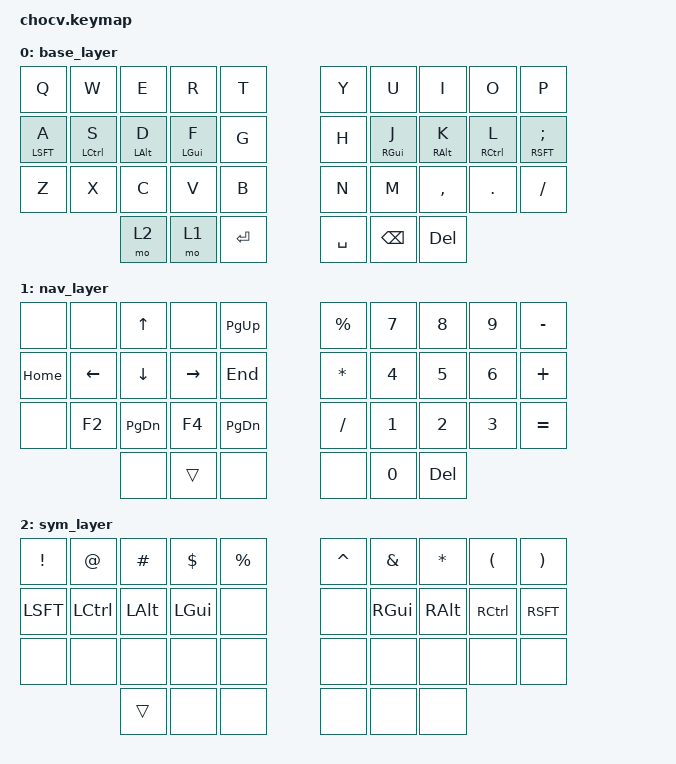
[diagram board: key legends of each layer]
/*
 * chocV keymap for grewalgs
 * Nice!Nano + ZMK
 *
 * Layer 0: Base QWERTY with home row mods
 * Layer 1: Nav / Numpad (MO 1)
 * Layer 2: Symbols / Modifiers (MO 2)
 */

#include <behaviors.dtsi>
#include <dt-bindings/zmk/keys.h>
#include <dt-bindings/zmk/bt.h>

// Home row mod timing
&mt {
    flavor = "tap-preferred";
    tapping-term-ms = <200>;
};

/ {
    keymap {
        compatible = "zmk,keymap";

        // ─── Layer 0: Base ────────────────────────────────────────────────────
        // ┌─────┬─────┬─────┬─────┬─────┐       ┌─────┬─────┬─────┬─────┬─────┐
        // │  Q  │  W  │  E  │  R  │  T  │       │  Y  │  U  │  I  │  O  │  P  │
        // ├─────┼─────┼─────┼─────┼─────┤       ├─────┼─────┼─────┼─────┼─────┤
        // │A/Sft│S/Ctl│D/Alt│F/GUI│  G  │       │  H  │J/GUI│K/Alt│L/Ctl│;/Sft│
        // ├─────┼─────┼─────┼─────┼─────┤       ├─────┼─────┼─────┼─────┼─────┤
        // │  Z  │  X  │  C  │  V  │  B  │       │  N  │  M  │  ,  │  .  │  /  │
        // └─────┴─────┴─────┼─────┼─────┼─────┐ ├─────┼─────┼─────┴─────┴─────┘
        //                   │MO(2)│MO(1)│Enter│ │Space│BkSp │ Del │
        //                   └─────┴─────┴─────┘ └─────┴─────┴─────┘
        base_layer {
            bindings = <
                &kp Q        &kp W        &kp E        &kp R        &kp T          &kp Y  &kp U        &kp I        &kp O        &kp P
                &mt LSFT A   &mt LCTL S   &mt LALT D   &mt LGUI F   &kp G          &kp H  &mt RGUI J   &mt RALT K   &mt RCTL L   &mt RSFT SEMI
                &kp Z        &kp X        &kp C        &kp V        &kp B          &kp N  &kp M        &kp COMMA    &kp DOT      &kp SLASH
                                                       &mo 2        &mo 1  &kp RET   &kp SPACE  &kp BSPC  &kp DEL
            >;
        };

        // ─── Layer 1: Nav / Numpad ────────────────────────────────────────────
        // ┌─────┬─────┬─────┬─────┬─────┐       ┌─────┬─────┬─────┬─────┬─────┐
        // │ N/A │ N/A │  ↑  │ N/A │PgUp │       │  %  │  7  │  8  │  9  │  -  │
        // ├─────┼─────┼─────┼─────┼─────┤       ├─────┼─────┼─────┼─────┼─────┤
        // │Home │  ←  │  ↓  │  →  │ End │       │  *  │  4  │  5  │  6  │  +  │
        // ├─────┼─────┼─────┼─────┼─────┤       ├─────┼─────┼─────┼─────┼─────┤
        // │ N/A │ F2  │PgDn │ F4  │PgDn │       │  /  │  1  │  2  │  3  │  =  │
        // └─────┴─────┴─────┼─────┼─────┼─────┐ ├─────┼─────┼─────┴─────┴─────┘
        //                   │ N/A │ ▽   │ N/A │ │ N/A │  0  │ Del │
        //                   └─────┴─────┴─────┘ └─────┴─────┴─────┘
        nav_layer {
            bindings = <
                &none        &none        &kp UP       &none        &kp PG_UP      &kp PRCNT  &kp N7  &kp N8     &kp N9    &kp MINUS
                &kp HOME     &kp LEFT     &kp DOWN     &kp RIGHT    &kp END        &kp STAR   &kp N4  &kp N5     &kp N6    &kp PLUS
                &none        &kp F2       &kp PG_DN    &kp F4       &kp PG_DN      &kp SLASH  &kp N1  &kp N2     &kp N3    &kp EQUAL
                                                       &none        &trans  &none   &none  &kp N0  &kp DEL
            >;
        };

        // ─── Layer 2: Symbols / Mods ──────────────────────────────────────────
        // ┌─────┬─────┬─────┬─────┬─────┐       ┌─────┬─────┬─────┬─────┬─────┐
        // │  !  │  @  │  #  │  $  │  %  │       │  ^  │  &  │  *  │  (  │  )  │
        // ├─────┼─────┼─────┼─────┼─────┤       ├─────┼─────┼─────┼─────┼─────┤
        // │LSft │LCtl │LAlt │LGUI │ N/A │       │ N/A │RGUI │RAlt │RCtl │RSft │
        // ├─────┼─────┼─────┼─────┼─────┤       ├─────┼─────┼─────┼─────┼─────┤
        // │ N/A │ N/A │ N/A │ N/A │ N/A │       │ N/A │ N/A │ N/A │ N/A │ N/A │
        // └─────┴─────┴─────┼─────┼─────┼─────┐ ├─────┼─────┼─────┴─────┴─────┘
        //                   │ ▽   │ N/A │ N/A │ │ N/A │ N/A │ N/A │
        //                   └─────┴─────┴─────┘ └─────┴─────┴─────┘
        sym_layer {
            bindings = <
                &kp EXCL     &kp AT       &kp HASH     &kp DLLR     &kp PRCNT      &kp CARET  &kp AMPS  &kp STAR   &kp LPAR   &kp RPAR
                &kp LSFT     &kp LCTL     &kp LALT     &kp LGUI     &none          &none      &kp RGUI  &kp RALT   &kp RCTL   &kp RSFT
                &none        &none        &none        &none        &none          &none      &none     &none      &none      &none
                                                       &trans       &none   &none   &none  &none   &none
            >;
        };
    };
};
